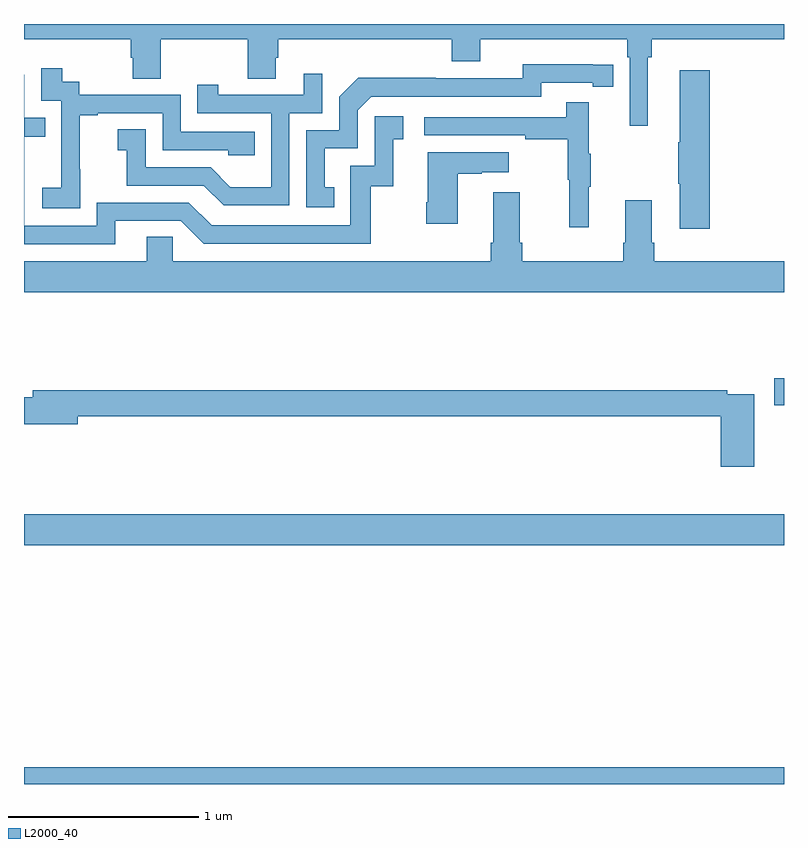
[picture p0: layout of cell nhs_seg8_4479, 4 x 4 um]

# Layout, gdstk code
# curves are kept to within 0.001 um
import gdstk
lib = gdstk.Library(unit=1e-6, precision=1e-09)
def R(c, l, rs):  # rectangles x0, y0, x1, y1
    for r in rs: c.add(gdstk.rectangle(r[:2], r[2:], *l))
def P(c, l, *ps):  # polygons
    for p in ps: c.add(gdstk.Polygon(p, *l))
L2000_40 = (2000, 40)

nhs_seg8_4479 = lib.new_cell('nhs_seg8_4479')
R(nhs_seg8_4479, L2000_40, [(383,1125.9,387,1125.988), (383,1127.156,387,1127.32), (386.949,1127.894,387,1128.036)])
P(nhs_seg8_4479, L2000_40, [(383,1129.82),(383.561,1129.82),(383.561,1129.722),(383.573,1129.722),(383.573,1129.612),(383.721,1129.612),(383.721,1129.82),(384.178,1129.82),(384.178,1129.612),(384.325,1129.612),(384.325,1129.722),(384.338,1129.722),(384.338,1129.82),(385.25,1129.82),(385.25,1129.703),(385.402,1129.703),(385.402,1129.82),(386.174,1129.82),(386.174,1129.724),(386.187,1129.724),(386.187,1129.365),(386.284,1129.365),(386.284,1129.724),(386.303,1129.724),(386.303,1129.82),(387,1129.82),(387,1129.9),(383,1129.9)],
  [(384.632,1129.041),(384.583,1129.041),(384.583,1129.245),(384.756,1129.245),(384.756,1129.446),(384.828,1129.518),(385.722,1129.518),(385.722,1129.59),(385.994,1129.59),(385.994,1129.57),(386.102,1129.57),(386.102,1129.686),(385.626,1129.687),(385.626,1129.614),(385.166,1129.614),(385.166,1129.616),(384.758,1129.616),(384.66,1129.518),(384.66,1129.341),(384.486,1129.341),(384.486,1128.936),(384.632,1128.936)],
  [(383.295,1129.135),(383.294,1129.135),(383.294,1129.419),(383.389,1129.419),(383.389,1129.431),(383.73,1129.431),(383.73,1129.236),(384.075,1129.236),(384.075,1129.209),(384.215,1129.209),(384.215,1129.332),(383.826,1129.332),(383.826,1129.527),(383.292,1129.527),(383.292,1129.596),(383.2,1129.596),(383.2,1129.666),(383.091,1129.666),(383.091,1129.497),(383.196,1129.497),(383.196,1129.268),(383.195,1129.268),(383.195,1129.039),(383.097,1129.039),(383.097,1128.929),(383.295,1128.929)],
  [(386.609,1129.657),(386.45,1129.657),(386.45,1129.277),(386.443,1129.277),(386.443,1129.06),(386.45,1129.06),(386.45,1128.822),(386.609,1128.822)],
  [(384.396,1129.431),(384.57,1129.431),(384.57,1129.639),(384.473,1129.639),(384.473,1129.527),(384.022,1129.527),(384.022,1129.579),(383.911,1129.579),(383.911,1129.431),(384.3,1129.431),(384.3,1129.042),(384.086,1129.042),(383.982,1129.146),(383.64,1129.146),(383.64,1129.345),(383.493,1129.345),(383.493,1129.235),(383.542,1129.235),(383.542,1129.05),(383.945,1129.05),(384.05,1128.945),(384.396,1128.945)],
  [(383.479,1128.864),(383.826,1128.864),(383.946,1128.744),(384.826,1128.744),(384.826,1129.047),(384.944,1129.047),(384.944,1129.293),(384.997,1129.293),(384.997,1129.414),(384.846,1129.414),(384.846,1129.155),(384.717,1129.155),(384.717,1128.84),(383.988,1128.84),(383.868,1128.96),(383.382,1128.96),(383.382,1128.837),(383.001,1128.837),(383.001,1129.306),(383.111,1129.306),(383.111,1129.407),(383.001,1129.407),(383,1129.632),(383,1128.741),(383.479,1128.741)],
  [(385.973,1129.043),(385.984,1129.043),(385.984,1129.217),(385.973,1129.217),(385.973,1129.489),(385.855,1129.489),(385.855,1129.41),(385.107,1129.41),(385.107,1129.314),(385.639,1129.314),(385.639,1129.294),(385.863,1129.294),(385.863,1129.08),(385.87,1129.08),(385.87,1128.831),(385.973,1128.831)],
  [(385.282,1129.111),(385.409,1129.111),(385.409,1129.121),(385.552,1129.121),(385.552,1129.225),(385.124,1129.225),(385.124,1128.961),(385.117,1128.961),(385.117,1128.849),(385.282,1128.849)],
  [(387,1128.652),(386.318,1128.652),(386.318,1128.748),(386.305,1128.748),(386.305,1128.973),(386.165,1128.973),(386.165,1128.748),(386.153,1128.748),(386.153,1128.652),(385.622,1128.652),(385.622,1128.748),(385.609,1128.748),(385.609,1129.015),(385.469,1129.015),(385.469,1128.748),(385.457,1128.748),(385.457,1128.652),(383.784,1128.652),(383.784,1128.779),(383.645,1128.779),(383.645,1128.652),(383,1128.652),(383,1128.488),(387,1128.488)],
  [(386.844,1127.952),(386.702,1127.952),(386.702,1127.972),(383.045,1127.972),(383.045,1127.936),(383,1127.936),(383,1127.794),(383.284,1127.794),(383.284,1127.836),(386.666,1127.836),(386.666,1127.571),(386.844,1127.571)])

lib.write_gds('nhs_seg8_4479.gds')
